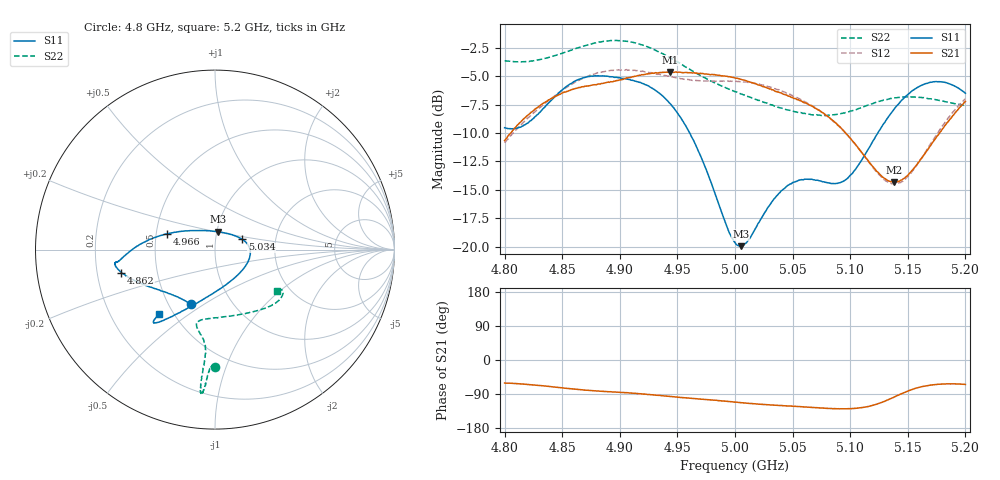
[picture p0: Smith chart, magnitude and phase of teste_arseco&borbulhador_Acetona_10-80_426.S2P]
! Network Analyzer HP8722D
! Hewlett-Packard
! Data name: Linha & Wilkinson
! Saver's name: Rodrigo Anjos
! Comments: Teste da utilização de aquisição
! continua pelo VNA HP8722D
! Time and date: 17/4/2025 17:54
!  Frequency  S11  S21  S12  S22
# HZ  S  MA R 50
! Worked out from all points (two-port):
!   401 points, 4.8 GHz to 5.2 GHz, reference 50 ohm
!   highest |S21| = -4.63 dB at 4.944 GHz (marker M1); lowest = -14.3 dB at 5.138 GHz (marker M2)
!   |S21| within 3 dB of the highest: 4.83 GHz to 5.067 GHz (236.4 MHz wide, 4.78 % of centre); 5.196275 GHz to end of sweep
!   lowest |S11| = -19.9 dB at 5.005 GHz (marker M3), VSWR 1.22, Z = 50.5 + j10.2 ohm
!   |S11| at or under -10 dB: 4.961 GHz to 5.124 GHz (163.3 MHz wide, 3.24 % of centre)
!   |S22| runs from -8.5 to -1.9 dB; largest |S21 - S12| = 0.88
!   S11 on the Smith chart (normalised r, x): 4.8 GHz: 0.64, -0.44; 4.862 GHz: 0.30, -0.11; 4.966 GHz: 0.57, +0.11; 5.034 GHz: 1.35, +0.16; 5.2 GHz: 0.42, -0.39
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4.8e9  0.3336 -113.6  0.2928 -60.8  0.2866 -175.1  0.6567 -90.1
4.819e9  0.3477 -133.7  0.3741 -64.2  0.363 -173.8  0.6524 -91.7
4.862e9  0.5378 -166.2  0.4969 -77.3  0.532 -177.2  0.7444 -94.0
4.867e9  0.5501 -168.3  0.5047 -78.7  0.5463 -177.9  0.7575 -94.1
4.899e9  0.5534 -172.8  0.5388 -85.2  0.5992 175.5  0.8048 -95.4
4.934e9  0.4748 -178.8  0.5824 -93.6  0.5745 171.8  0.718 -96.0
4.944e9  0.4243 176.5  0.587 -96.5  0.5589 171.9  0.6759 -95.7
4.966e9  0.2791 161.6  0.5796 -102.0  0.5385 173.7  0.5815 -95.1
5e9  0.1044 98.8  0.5522 -111.2  0.534 176.1  0.4803 -99.4
5.005e9  0.1006 81.5  0.5447 -112.6  0.5311 176.1  0.4695 -100.5
5.012e9  0.1076 59.6  0.5315 -114.5  0.5266 175.9  0.4569 -102.1
5.034e9  0.1627 20.6  0.4856 -119.4  0.4966 174.7  0.4159 -103.7
5.049e9  0.1893 5.3  0.4533 -121.6  0.4632 174.1  0.3947 -99.9
5.067e9  0.1981 -14.0  0.4147 -125.1  0.4161 173.5  0.3801 -90.6
5.086e9  0.1897 -44.2  0.3554 -128.2  0.3534 173.7  0.3805 -76.2
5.097e9  0.1985 -67.0  0.3119 -128.8  0.312 174.6  0.3899 -67.1
5.134e9  0.3772 -116.9  0.1942 -103.7  0.1907 -156.5  0.4475 -43.0
5.138e9  0.402 -119.2  0.1922 -98.1  0.1887 -150.1  0.4502 -41.1
5.151e9  0.4712 -124.9  0.2091 -80.8  0.2066 -130.1  0.456 -36.4
5.17e9  0.5286 -129.4  0.2794 -66.1  0.285 -112.3  0.4471 -32.0
5.184e9  0.5248 -130.7  0.3507 -63.0  0.3616 -107.3  0.4332 -31.1
5.2e9  0.4728 -131.0  0.4355 -64.5  0.4471 -106.6  0.4165 -33.4
